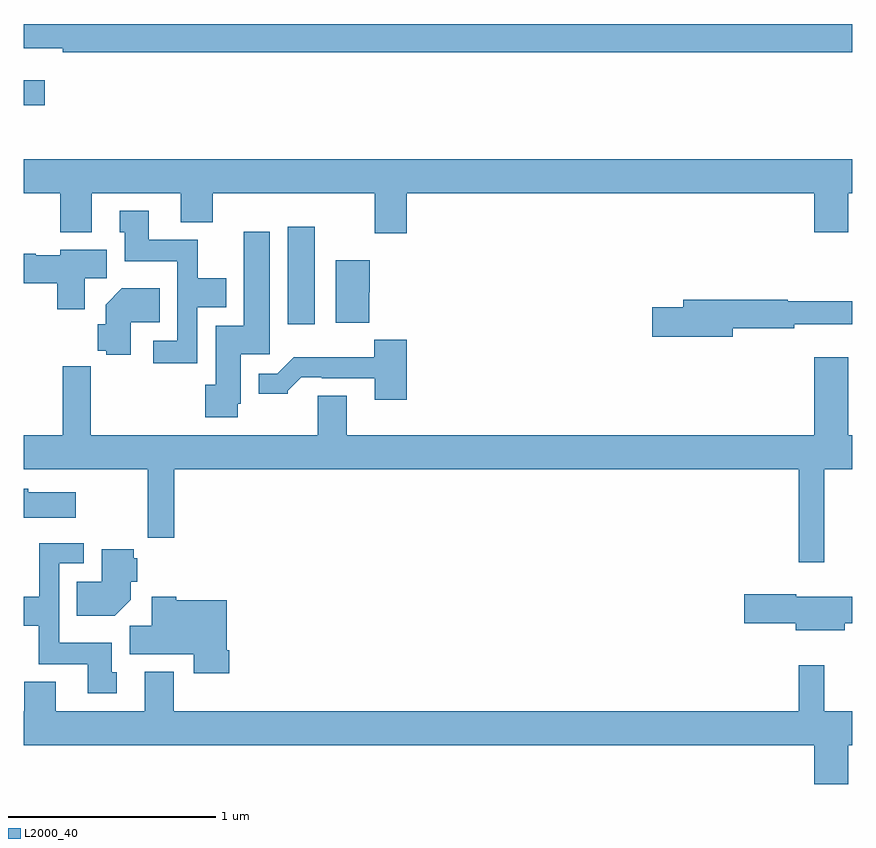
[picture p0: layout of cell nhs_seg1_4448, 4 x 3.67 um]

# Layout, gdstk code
import gdstk
lib = gdstk.Library(unit=1e-6, precision=1e-09)
def R(c, l, rs):  # rectangles x0, y0, x1, y1
    for r in rs: c.add(gdstk.rectangle(r[:2], r[2:], *l))
def P(c, l, *ps):  # polygons
    for p in ps: c.add(gdstk.Polygon(p, *l))
L2000_40 = (2000, 40)

nhs_seg1_4448 = lib.new_cell('nhs_seg1_4448')
R(nhs_seg1_4448, L2000_40, [(354.275,536.448,354.406,536.917), (353,537.503,353.101,537.625)])
P(nhs_seg1_4448, L2000_40, [(357,537.896),(353,537.896),(353,537.779),(353.188,537.779),(353.188,537.76),(357,537.76)],
  [(354.848,537.08),(356.816,537.08),(356.816,536.892),(356.98,536.892),(356.98,537.08),(357,537.08),(357,537.244),(353,537.244),(353,537.08),(353.177,537.08),(353.177,536.891),(353.329,536.891),(353.329,537.08),(353.759,537.08),(353.759,536.939),(353.912,536.939),(353.912,537.08),(354.695,537.08),(354.695,536.886),(354.848,536.886)],
  [(353.838,536.528),(353.977,536.528),(353.977,536.668),(353.841,536.668),(353.841,536.854),(353.605,536.854),(353.605,536.995),(353.465,536.995),(353.465,536.892),(353.489,536.892),(353.489,536.75),(353.742,536.75),(353.742,536.367),(353.625,536.367),(353.625,536.259),(353.838,536.259)],
  [(354.033,536.064),(354.049,536.064),(354.049,536.301),(354.187,536.301),(354.187,536.893),(354.062,536.893),(354.062,536.44),(353.927,536.44),(353.927,536.154),(353.876,536.154),(353.876,535.998),(354.033,535.998)],
  [(353.296,536.668),(353.401,536.668),(353.401,536.806),(353.178,536.806),(353.178,536.779),(353.058,536.779),(353.058,536.787),(353,536.787),(353,536.645),(353.162,536.645),(353.162,536.52),(353.296,536.52)],
  [(354.668,536.601),(354.67,536.601),(354.67,536.755),(354.506,536.755),(354.506,536.453),(354.668,536.453)],
  [(353.518,536.456),(353.657,536.456),(353.657,536.62),(353.474,536.62),(353.396,536.542),(353.396,536.446),(353.358,536.446),(353.358,536.318),(353.4,536.318),(353.4,536.299),(353.518,536.299)],
  [(356.422,536.428),(356.72,536.428),(356.72,536.447),(357,536.447),(357,536.557),(356.687,536.557),(356.687,536.564),(356.183,536.564),(356.183,536.528),(356.034,536.528),(356.034,536.386),(356.422,536.386)],
  [(354.848,536.371),(354.693,536.371),(354.693,536.287),(354.304,536.287),(354.225,536.208),(354.134,536.208),(354.134,536.111),(354.276,536.111),(354.276,536.126),(354.34,536.19),(354.439,536.19),(354.439,536.187),(354.695,536.187),(354.695,536.082),(354.848,536.082)],
  [(356.863,535.748),(357,535.748),(357,535.912),(356.98,535.912),(356.98,536.287),(356.816,536.287),(356.816,535.912),(354.559,535.912),(354.559,536.102),(354.419,536.102),(354.419,535.912),(353.324,535.912),(353.324,536.132),(353.323,536.132),(353.323,536.245),(353.188,536.245),(353.188,535.912),(353,535.912),(353,535.748),(353.598,535.748),(353.598,535.416),(353.726,535.416),(353.726,535.748),(356.742,535.748),(356.742,535.299),(356.863,535.299)],
  [(353.251,535.636),(353.022,535.636),(353.022,535.654),(353,535.654),(353,535.514),(353.251,535.514)],
  [(353.449,534.768),(353.425,534.768),(353.425,534.91),(353.172,534.91),(353.172,535.293),(353.29,535.293),(353.29,535.389),(353.076,535.389),(353.076,535.132),(353,535.132),(353,534.992),(353.074,534.992),(353.074,534.806),(353.309,534.806),(353.309,534.666),(353.449,534.666)],
  [(353.518,535.118),(353.518,535.203),(353.549,535.203),(353.549,535.317),(353.531,535.317),(353.531,535.362),(353.378,535.362),(353.378,535.204),(353.257,535.204),(353.257,535.04),(353.44,535.04)],
  [(356.962,535.003),(357,535.003),(357,535.132),(356.73,535.132),(356.73,535.145),(356.478,535.145),(356.478,535.003),(356.726,535.003),(356.726,534.971),(356.962,534.971)],
  [(353.993,534.874),(353.98,534.874),(353.98,535.114),(353.736,535.114),(353.736,535.132),(353.618,535.132),(353.618,534.992),(353.513,534.992),(353.513,534.854),(353.822,534.854),(353.822,534.762),(353.993,534.762)],
  [(356.98,534.416),(357,534.416),(357,534.58),(356.863,534.58),(356.863,534.802),(356.742,534.802),(356.742,534.58),(353.725,534.58),(353.725,534.769),(353.585,534.769),(353.585,534.58),(353.155,534.58),(353.155,534.721),(353.003,534.721),(353.003,534.58),(353,534.58),(353,534.416),(356.816,534.416),(356.816,534.228),(356.98,534.228)])

lib.write_gds('nhs_seg1_4448.gds')
